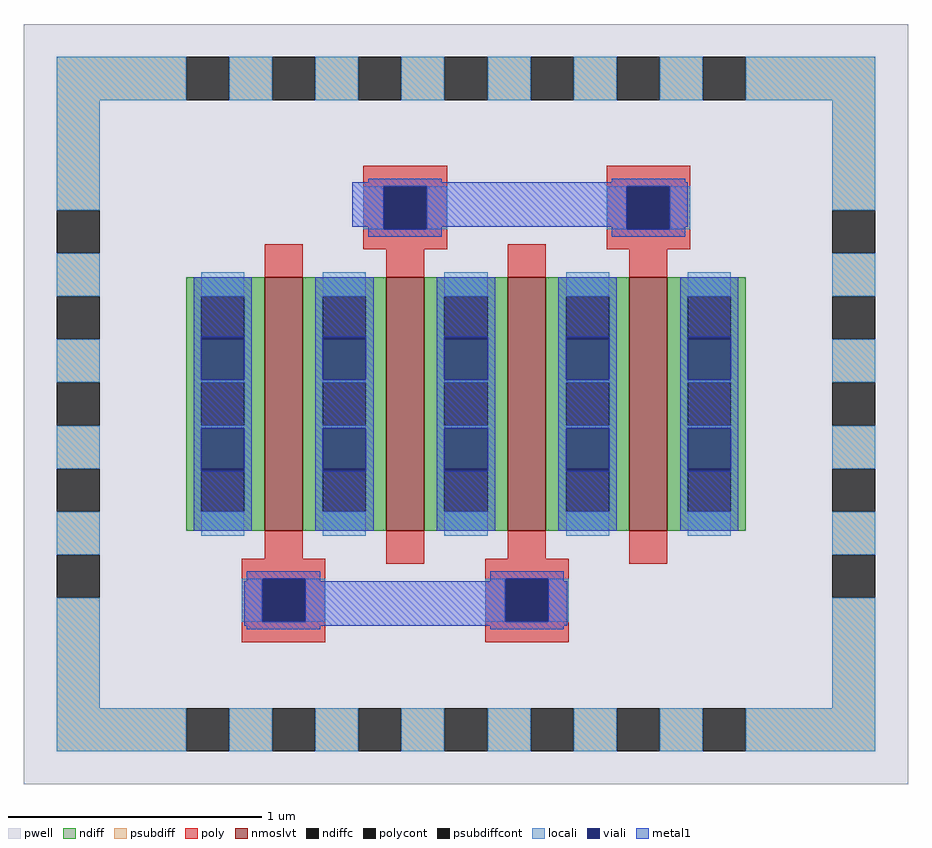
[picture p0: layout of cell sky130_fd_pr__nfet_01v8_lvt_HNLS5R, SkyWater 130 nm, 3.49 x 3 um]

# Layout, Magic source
magic
tech sky130A
magscale 1 2
<< pwell >>
rect -349 -300 349 300
<< nmoslvt >>
rect -159 -100 -129 100
rect -63 -100 -33 100
rect 33 -100 63 100
rect 129 -100 159 100
<< ndiff >>
rect -221 85 -159 100
rect -221 51 -209 85
rect -175 51 -159 85
rect -221 17 -159 51
rect -221 -17 -209 17
rect -175 -17 -159 17
rect -221 -51 -159 -17
rect -221 -85 -209 -51
rect -175 -85 -159 -51
rect -221 -100 -159 -85
rect -129 85 -63 100
rect -129 51 -113 85
rect -79 51 -63 85
rect -129 17 -63 51
rect -129 -17 -113 17
rect -79 -17 -63 17
rect -129 -51 -63 -17
rect -129 -85 -113 -51
rect -79 -85 -63 -51
rect -129 -100 -63 -85
rect -33 85 33 100
rect -33 51 -17 85
rect 17 51 33 85
rect -33 17 33 51
rect -33 -17 -17 17
rect 17 -17 33 17
rect -33 -51 33 -17
rect -33 -85 -17 -51
rect 17 -85 33 -51
rect -33 -100 33 -85
rect 63 85 129 100
rect 63 51 79 85
rect 113 51 129 85
rect 63 17 129 51
rect 63 -17 79 17
rect 113 -17 129 17
rect 63 -51 129 -17
rect 63 -85 79 -51
rect 113 -85 129 -51
rect 63 -100 129 -85
rect 159 85 221 100
rect 159 51 175 85
rect 209 51 221 85
rect 159 17 221 51
rect 159 -17 175 17
rect 209 -17 221 17
rect 159 -51 221 -17
rect 159 -85 175 -51
rect 209 -85 221 -51
rect 159 -100 221 -85
<< ndiffc >>
rect -209 51 -175 85
rect -209 -17 -175 17
rect -209 -85 -175 -51
rect -113 51 -79 85
rect -113 -17 -79 17
rect -113 -85 -79 -51
rect -17 51 17 85
rect -17 -17 17 17
rect -17 -85 17 -51
rect 79 51 113 85
rect 79 -17 113 17
rect 79 -85 113 -51
rect 175 51 209 85
rect 175 -17 209 17
rect 175 -85 209 -51
<< psubdiff >>
rect -323 240 -221 274
rect -187 240 -153 274
rect -119 240 -85 274
rect -51 240 -17 274
rect 17 240 51 274
rect 85 240 119 274
rect 153 240 187 274
rect 221 240 323 274
rect -323 153 -289 240
rect -323 85 -289 119
rect 289 153 323 240
rect -323 17 -289 51
rect -323 -51 -289 -17
rect -323 -119 -289 -85
rect 289 85 323 119
rect 289 17 323 51
rect 289 -51 323 -17
rect -323 -240 -289 -153
rect 289 -119 323 -85
rect 289 -240 323 -153
rect -323 -274 -221 -240
rect -187 -274 -153 -240
rect -119 -274 -85 -240
rect -51 -274 -17 -240
rect 17 -274 51 -240
rect 85 -274 119 -240
rect 153 -274 187 -240
rect 221 -274 323 -240
<< psubdiffcont >>
rect -221 240 -187 274
rect -153 240 -119 274
rect -85 240 -51 274
rect -17 240 17 274
rect 51 240 85 274
rect 119 240 153 274
rect 187 240 221 274
rect -323 119 -289 153
rect 289 119 323 153
rect -323 51 -289 85
rect -323 -17 -289 17
rect -323 -85 -289 -51
rect 289 51 323 85
rect 289 -17 323 17
rect 289 -85 323 -51
rect -323 -153 -289 -119
rect 289 -153 323 -119
rect -221 -274 -187 -240
rect -153 -274 -119 -240
rect -85 -274 -51 -240
rect -17 -274 17 -240
rect 51 -274 85 -240
rect 119 -274 153 -240
rect 187 -274 221 -240
<< poly >>
rect -81 172 -15 188
rect -81 138 -65 172
rect -31 138 -15 172
rect -159 100 -129 126
rect -81 122 -15 138
rect 111 172 177 188
rect 111 138 127 172
rect 161 138 177 172
rect -63 100 -33 122
rect 33 100 63 126
rect 111 122 177 138
rect 129 100 159 122
rect -159 -122 -129 -100
rect -177 -138 -111 -122
rect -63 -126 -33 -100
rect 33 -122 63 -100
rect -177 -172 -161 -138
rect -127 -172 -111 -138
rect -177 -188 -111 -172
rect 15 -138 81 -122
rect 129 -126 159 -100
rect 15 -172 31 -138
rect 65 -172 81 -138
rect 15 -188 81 -172
<< polycont >>
rect -65 138 -31 172
rect 127 138 161 172
rect -161 -172 -127 -138
rect 31 -172 65 -138
<< locali >>
rect -323 240 -221 274
rect -187 240 -153 274
rect -119 240 -85 274
rect -51 240 -17 274
rect 17 240 51 274
rect 85 240 119 274
rect 153 240 187 274
rect 221 240 323 274
rect -323 153 -289 240
rect -81 138 -65 172
rect -31 138 -15 172
rect 111 138 127 172
rect 161 138 177 172
rect 289 153 323 240
rect -323 85 -289 119
rect -323 17 -289 51
rect -323 -51 -289 -17
rect -323 -119 -289 -85
rect -209 85 -175 104
rect -209 17 -175 19
rect -209 -19 -175 -17
rect -209 -104 -175 -85
rect -113 85 -79 104
rect -113 17 -79 19
rect -113 -19 -79 -17
rect -113 -104 -79 -85
rect -17 85 17 104
rect -17 17 17 19
rect -17 -19 17 -17
rect -17 -104 17 -85
rect 79 85 113 104
rect 79 17 113 19
rect 79 -19 113 -17
rect 79 -104 113 -85
rect 175 85 209 104
rect 175 17 209 19
rect 175 -19 209 -17
rect 175 -104 209 -85
rect 289 85 323 119
rect 289 17 323 51
rect 289 -51 323 -17
rect 289 -119 323 -85
rect -323 -240 -289 -153
rect -177 -172 -161 -138
rect -127 -172 -111 -138
rect 15 -172 31 -138
rect 65 -172 81 -138
rect 289 -240 323 -153
rect -323 -274 -221 -240
rect -187 -274 -153 -240
rect -119 -274 -85 -240
rect -51 -274 -17 -240
rect 17 -274 51 -240
rect 85 -274 119 -240
rect 153 -274 187 -240
rect 221 -274 323 -240
<< viali >>
rect -65 138 -31 172
rect 127 138 161 172
rect -209 51 -175 53
rect -209 19 -175 51
rect -209 -51 -175 -19
rect -209 -53 -175 -51
rect -113 51 -79 53
rect -113 19 -79 51
rect -113 -51 -79 -19
rect -113 -53 -79 -51
rect -17 51 17 53
rect -17 19 17 51
rect -17 -51 17 -19
rect -17 -53 17 -51
rect 79 51 113 53
rect 79 19 113 51
rect 79 -51 113 -19
rect 79 -53 113 -51
rect 175 51 209 53
rect 175 19 209 51
rect 175 -51 209 -19
rect 175 -53 209 -51
rect -161 -172 -127 -138
rect 31 -172 65 -138
<< metal1 >>
rect -77 175 -19 178
rect 115 175 173 178
rect -90 172 175 175
rect -90 140 -65 172
rect -77 138 -65 140
rect -31 140 127 172
rect -31 138 -19 140
rect -77 132 -19 138
rect 115 138 127 140
rect 161 140 175 172
rect 161 138 173 140
rect 115 132 173 138
rect -215 53 -169 100
rect -215 19 -209 53
rect -175 19 -169 53
rect -215 -19 -169 19
rect -215 -53 -209 -19
rect -175 -53 -169 -19
rect -215 -100 -169 -53
rect -119 53 -73 100
rect -119 19 -113 53
rect -79 19 -73 53
rect -119 -19 -73 19
rect -119 -53 -113 -19
rect -79 -53 -73 -19
rect -119 -100 -73 -53
rect -23 53 23 100
rect -23 19 -17 53
rect 17 19 23 53
rect -23 -19 23 19
rect -23 -53 -17 -19
rect 17 -53 23 -19
rect -23 -100 23 -53
rect 73 53 119 100
rect 73 19 79 53
rect 113 19 119 53
rect 73 -19 119 19
rect 73 -53 79 -19
rect 113 -53 119 -19
rect 73 -100 119 -53
rect 169 53 215 100
rect 169 19 175 53
rect 209 19 215 53
rect 169 -19 215 19
rect 169 -53 175 -19
rect 209 -53 215 -19
rect 169 -100 215 -53
rect -173 -138 -115 -132
rect -173 -140 -161 -138
rect -175 -172 -161 -140
rect -127 -140 -115 -138
rect 19 -138 77 -132
rect 19 -140 31 -138
rect -127 -172 31 -140
rect 65 -140 77 -138
rect 65 -172 80 -140
rect -175 -175 80 -172
rect -173 -178 -115 -175
rect 19 -178 77 -175
<< properties >>
string FIXED_BBOX -306 -257 306 257
<< end >>
